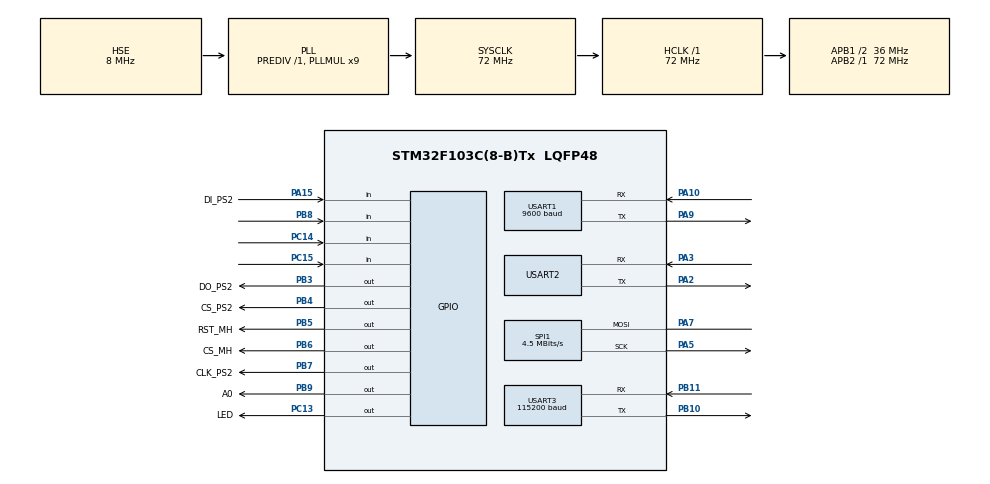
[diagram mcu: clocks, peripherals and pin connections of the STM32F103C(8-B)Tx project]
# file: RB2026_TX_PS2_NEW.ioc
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Dma.Request0=USART1_RX
Dma.Request1=USART1_TX
Dma.Request2=USART3_TX
Dma.USART1_RX.0.Direction=DMA_PERIPH_TO_MEMORY
Dma.USART1_RX.0.Instance=DMA1_Channel5
Dma.USART1_RX.0.MemDataAlignment=DMA_MDATAALIGN_BYTE
Dma.USART1_RX.0.MemInc=DMA_MINC_ENABLE
Dma.USART1_RX.0.Mode=DMA_NORMAL
Dma.USART1_RX.0.PeriphDataAlignment=DMA_PDATAALIGN_BYTE
Dma.USART1_RX.0.PeriphInc=DMA_PINC_DISABLE
Dma.USART1_RX.0.Priority=DMA_PRIORITY_LOW
Dma.USART1_TX.1.Direction=DMA_MEMORY_TO_PERIPH
Dma.USART1_TX.1.Instance=DMA1_Channel4
Dma.USART1_TX.1.MemDataAlignment=DMA_MDATAALIGN_BYTE
Dma.USART1_TX.1.MemInc=DMA_MINC_ENABLE
Dma.USART1_TX.1.Mode=DMA_NORMAL
Dma.USART1_TX.1.PeriphDataAlignment=DMA_PDATAALIGN_BYTE
Dma.USART1_TX.1.PeriphInc=DMA_PINC_DISABLE
Dma.USART1_TX.1.Priority=DMA_PRIORITY_LOW
Dma.USART3_TX.2.Direction=DMA_MEMORY_TO_PERIPH
Dma.USART3_TX.2.Instance=DMA1_Channel2
Dma.USART3_TX.2.MemDataAlignment=DMA_MDATAALIGN_BYTE
Dma.USART3_TX.2.MemInc=DMA_MINC_ENABLE
Dma.USART3_TX.2.Mode=DMA_NORMAL
Dma.USART3_TX.2.PeriphDataAlignment=DMA_PDATAALIGN_BYTE
Dma.USART3_TX.2.PeriphInc=DMA_PINC_DISABLE
Dma.USART3_TX.2.Priority=DMA_PRIORITY_LOW
Mcu.Family=STM32F1
Mcu.Name=STM32F103C(8-B)Tx
Mcu.Package=LQFP48
NVIC.DMA1_Channel2_IRQn=true\:0\:0\:false\:false\:true\:false\:true\:true
NVIC.DMA1_Channel4_IRQn=true\:0\:0\:false\:false\:true\:false\:true\:true
NVIC.DMA1_Channel5_IRQn=true\:0\:0\:false\:false\:true\:false\:true\:true
NVIC.PriorityGroup=NVIC_PRIORITYGROUP_4
NVIC.TIM2_IRQn=true\:0\:0\:false\:false\:true\:true\:true\:true
NVIC.USART1_IRQn=true\:0\:0\:false\:false\:true\:true\:true\:true
NVIC.USART2_IRQn=true\:0\:0\:false\:false\:true\:true\:true\:true
NVIC.USART3_IRQn=true\:0\:0\:false\:false\:true\:true\:true\:true
PA10.Mode=Asynchronous
PA10.Signal=USART1_RX
PA13.Mode=Serial_Wire
PA13.Signal=SYS_JTMS-SWDIO
PA14.Mode=Serial_Wire
PA14.Signal=SYS_JTCK-SWCLK
PA15.GPIO_Label=DI_PS2
PA15.GPIO_PuPd=GPIO_PULLUP
PA15.Signal=GPIO_Input
PA2.Mode=Asynchronous
PA2.Signal=USART2_TX
PA3.Mode=Asynchronous
PA3.Signal=USART2_RX
PA5.Mode=Simplex_Bidirectional_Master
PA5.Signal=SPI1_SCK
PA7.Mode=Simplex_Bidirectional_Master
PA7.Signal=SPI1_MOSI
PA9.Mode=Asynchronous
PA9.Signal=USART1_TX
PB10.Mode=Asynchronous
PB10.Signal=USART3_TX
PB11.Mode=Asynchronous
PB11.Signal=USART3_RX
PB3.GPIO_Label=DO_PS2
PB3.GPIO_Speed=GPIO_SPEED_FREQ_HIGH
PB3.PinState=GPIO_PIN_SET
PB3.Signal=GPIO_Output
PB4.GPIO_Label=CS_PS2
PB4.GPIO_Speed=GPIO_SPEED_FREQ_HIGH
PB4.PinState=GPIO_PIN_SET
PB4.Signal=GPIO_Output
PB5.GPIO_Label=RST_MH
PB5.Signal=GPIO_Output
PB6.GPIO_Label=CS_MH
PB6.Signal=GPIO_Output
PB7.GPIO_Label=CLK_PS2
PB7.GPIO_Speed=GPIO_SPEED_FREQ_HIGH
PB7.PinState=GPIO_PIN_SET
PB7.Signal=GPIO_Output
PB8.GPIO_PuPd=GPIO_NOPULL
PB8.Signal=GPIO_Input
PB9.GPIO_Label=A0
PB9.Signal=GPIO_Output
PC13-TAMPER-RTC.GPIO_Label=LED
PC13-TAMPER-RTC.Signal=GPIO_Output
PC14-OSC32_IN.GPIO_PuPd=GPIO_PULLUP
PC14-OSC32_IN.Signal=GPIO_Input
PC15-OSC32_OUT.GPIO_PuPd=GPIO_PULLUP
PC15-OSC32_OUT.Signal=GPIO_Input
PD0-OSC_IN.Mode=HSE-External-Oscillator
PD0-OSC_IN.Signal=RCC_OSC_IN
PD1-OSC_OUT.Mode=HSE-External-Oscillator
PD1-OSC_OUT.Signal=RCC_OSC_OUT
ProjectManager.HeapSize=0x200
ProjectManager.StackSize=0x400
ProjectManager.TargetToolchain=STM32CubeIDE
RCC.AHBFreq_Value=72000000
RCC.APB1CLKDivider=RCC_HCLK_DIV2
RCC.APB1Freq_Value=36000000
RCC.APB1TimFreq_Value=72000000
RCC.APB2Freq_Value=72000000
RCC.APB2TimFreq_Value=72000000
RCC.HCLKFreq_Value=72000000
RCC.PLLMUL=RCC_PLL_MUL9
RCC.PLLSourceVirtual=RCC_PLLSOURCE_HSE
RCC.SYSCLKFreq_VALUE=72000000
RCC.SYSCLKSource=RCC_SYSCLKSOURCE_PLLCLK
RCC.USBFreq_Value=72000000
SPI1.BaudRatePrescaler=SPI_BAUDRATEPRESCALER_16
SPI1.CalculateBaudRate=4.5 MBits/s
SPI1.Direction=SPI_DIRECTION_1LINE
SPI1.Mode=SPI_MODE_MASTER
SPI1.VirtualType=VM_MASTER
TIM2.Period=9999
TIM2.Prescaler=71
TIM4.Prescaler=143
USART1.BaudRate=9600
USART1.VirtualMode=VM_ASYNC
USART2.VirtualMode=VM_ASYNC
USART3.BaudRate=115200
USART3.VirtualMode=VM_ASYNC
VP_TIM2_VS_ClockSourceINT.Mode=Internal
VP_TIM4_VS_ClockSourceINT.Mode=Internal
board=custom

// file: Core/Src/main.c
/* USER CODE BEGIN Header */
/**
  ******************************************************************************
  * @file           : main.c
  * @brief          : Main program body
  ******************************************************************************
  * @attention
  *
  * Copyright (c) 2025 STMicroelectronics.
  * All rights reserved.
  *
  * This software is licensed under terms that can be found in the LICENSE file
  * in the root directory of this software component.
  * If no LICENSE file comes with this software, it is provided AS-IS.
  *
  ******************************************************************************
  */
/* USER CODE END Header */
#include "main.h"

/* USER CODE BEGIN Includes */
#include <ST7735.h>
#include <math.h>
#include <GFX_FUNCTIONS.h>
#include "string.h"
#include "stdio.h"
#include "stdint.h"
#include "PS2_F103.h"
/* USER CODE END Includes */

/* USER CODE BEGIN PD */
#define Size 6
/* USER CODE END PD */

SPI_HandleTypeDef hspi1;

TIM_HandleTypeDef htim2;
TIM_HandleTypeDef htim4;

UART_HandleTypeDef huart1;
UART_HandleTypeDef huart2;
UART_HandleTypeDef huart3;
DMA_HandleTypeDef hdma_usart1_rx;
DMA_HandleTypeDef hdma_usart1_tx;
DMA_HandleTypeDef hdma_usart3_tx;

void SystemClock_Config(void);
static void MX_GPIO_Init(void);
static void MX_DMA_Init(void);
static void MX_SPI1_Init(void);
static void MX_TIM2_Init(void);
static void MX_USART1_UART_Init(void);
static void MX_USART3_UART_Init(void);
static void MX_TIM4_Init(void);
static void MX_USART2_UART_Init(void);
/* USER CODE BEGIN PFP */
int a,b,pre_a, pre_b,ofs_a,ofs_b;
int dc775[4], dc887[4];
uint8_t fl=0,fl_pre=0,fl_but1=0;
uint8_t cnt_rot=0;
float tmp_joy[2]={0,0};
uint8_t joy_but[2]={0,0};
uint8_t fc15,f_prec15=100,fc14,fc14_pre=100;
float cnt_goc_tmp=127;
uint8_t cnt_goc=127;
uint8_t flag_first=0;
int flag_bf3=0;
//uint32_t adc;
uint8_t cnt_rot_pre=0;
uint8_t cnt_hc=0;
uint8_t b0_pre=0;
int x775,x887;
uint8_t rx_hc, buf_hc[5],index_hc=0,tx_hc[6]={255,0,0,0,0,0};
Data du;
uint8_t flag_gui=0;
uint8_t tx[Size];
uint8_t tx_dma[Size];  // Buffer riêng cho DMA, tránh ghi đè khi đang truyền
uint8_t k=0;
uint8_t Indexx=0,dataa;
uint8_t Buffer[9];
uint8_t cntttt=0;
int xungmt887,xungmt775,xung775_pre=999,xung887_pre=999;
uint8_t flag_esp32=0;
int8_t cnt_bf3=0;
char bf8[5],bf7[5];
uint8_t cnt=0;
uint8_t rx_hc_at[64];      // Buffer nhận phản hồi AT bằng DMA
volatile uint8_t at_flag = 0; // Cờ báo hiệu đã nhận được phản hồi
uint16_t at_rx_size = 0;   // Độ dài dữ liệu nhận được
volatile uint8_t flag_update_lcd = 0;  // Flag để main loop cập nhật LCD
int16_t prev_arrow_x = 64, prev_arrow_y = 51; // Compass arrow previous endpoint
/* USER CODE END PFP */

/* USER CODE BEGIN 0 */
HAL_StatusTypeDef HC12_Send_AT(char *cmd, char *expected, uint32_t timeout) {
    uint8_t rx_tmp[16];
    uint8_t byte;
    uint8_t idx = 0;
    memset(rx_tmp, 0, sizeof(rx_tmp));

    HAL_UART_Abort(&huart3);
    __HAL_UART_FLUSH_DRREGISTER(&huart3);

    HAL_UART_Transmit(&huart3, (uint8_t*)cmd, strlen(cmd), 100);
    // ✅ KHÔNG delay ở đây - bắt đầu nhận ngay lập tức

    uint32_t start = HAL_GetTick();
    while ((HAL_GetTick() - start) < timeout && idx < 15) {
        if (HAL_UART_Receive(&huart3, &byte, 1, 50) == HAL_OK) {
            rx_tmp[idx++] = byte;

            // Debug: hiện từng byte
            char dbg[32];
            sprintf(dbg, "RX[%d]:%02X '%c'   ", idx-1, byte, (byte>=32&&byte<127)?byte:'.');
            ST7735_WriteString(5, 80, dbg, Font_7x10, WHITE, BLACK);

            if (strstr((char*)rx_tmp, expected) != NULL) {
                return HAL_OK;
            }
        }
    }
    return HAL_ERROR;
}

void HC12_Setup_Routine(void) {
    uint32_t bauds[] = {9600, 115200, 19200, 38400, 4800, 2400}; // ✅ 9600 lên đầu
    uint8_t found = 0;

    ST7735_WriteString(5, 60, "HC12: Searching...", Font_7x10, YELLOW, BLACK);

    for (uint8_t i = 0; i < 6; i++) {
        huart3.Instance = USART3;
        huart3.Init.BaudRate = bauds[i];
        huart3.Init.WordLength = UART_WORDLENGTH_8B;
        huart3.Init.StopBits = UART_STOPBITS_1;
        huart3.Init.Parity = UART_PARITY_NONE;
        huart3.Init.Mode = UART_MODE_TX_RX;
        huart3.Init.HwFlowCtl = UART_HWCONTROL_NONE;
        huart3.Init.OverSampling = UART_OVERSAMPLING_16;
        HAL_UART_Init(&huart3);
        HAL_Delay(50);

        // ✅ Chỉ gửi 1 lần duy nhất qua HC12_Send_AT
        if (HC12_Send_AT("AT\r\n", "OK", 500) == HAL_OK) {
            found = 1;
            char msg[30];
            sprintf(msg, "Found @ %lu", bauds[i]);
            ST7735_WriteString(5, 60, msg, Font_7x10, GREEN, BLACK);
            break;
        }
    }

    if (found) {
        HC12_Send_AT("AT+B115200\r\n", "OK", 500);
        HAL_Delay(200); // ✅ Chờ module reboot sau khi đổi baud
        HC12_Send_AT("AT+C059\r\n", "OK", 500);

        huart3.Init.BaudRate = 11520000; // 11520000
        HAL_UART_Init(&huart3);

        ST7735_WriteString(5, 70, "HC12: CONFIG DONE", Font_7x10, GREEN, BLACK);
    } else {
        ST7735_WriteString(5, 60, "HC12: NO RESPONSE", Font_7x10, RED, BLACK);
    }
}
void HAL_TIM_PeriodElapsedCallback(TIM_HandleTypeDef *htim)
{
	if (htim->Instance == TIM2) {
	  PS2_Update();
	  if(du.button[0]==16){
		  tmp_joy[0]-=0.5;
		  if(tmp_joy[0]<=-100)tmp_joy[0]=-100;
	  }
	  else if(du.button[0]==64){
		  tmp_joy[0]+=0.5;
		  if(tmp_joy[0]>=100)tmp_joy[0]=100;
	  }
	  else if(du.button[0]==128){
		  tmp_joy[1]-=0.5;
		  if(tmp_joy[1]<=-50)tmp_joy[1]=-50;
	  }
	  else if(du.button[0]==32){
		  tmp_joy[1]+=0.5;
		  if(tmp_joy[1]>=50)tmp_joy[1]=50;
	  }
	  else{
		  tmp_joy[0]=0;
		  tmp_joy[1]=0;

	  }

	  tx[3]= (du.button[1] >= 255) ? 254 : du.button[1];
	  cnt_rot_pre=cnt_rot;

	  // === Chức năng quay motor chip ID 2 ===
	  // L1 (button[1]==4): gửi lệnh quay thuận cho chip ID 2
	  // R1 (button[1]==8): gửi lệnh quay ngược cho chip ID 2

tx[0] = du.address;  // Địa chỉ bình thường (255)

	  // Fix overflow: clamp giá trị trước khi gán vào uint8_t
	  int16_t val_x = (int16_t)du.data[0] + (int16_t)tmp_joy[0];
	  int16_t val_y = (int16_t)du.data[1] + (int16_t)tmp_joy[1];
	  if(val_x < 0) val_x = 0;
	  if(val_x > 254) val_x = 254;  // 255 = sync byte, khong duoc dung!
	  if(val_y < 0) val_y = 0;
	  if(val_y > 254) val_y = 254;  // 255 = sync byte, khong duoc dung!
	  tx[1] = (uint8_t)val_x;
	  tx[2] = (uint8_t)val_y;

	  tx[4]= (du.button[0] >= 255) ? 254 : du.button[0];
	  cnt++;
	  if(cnt>=250) cnt=0;
	  tx[5] = cnt;

	  HAL_GPIO_TogglePin(GPIOC, GPIO_PIN_13);

	  // Fix DMA BUSY: kiểm tra UART sẵn sàng + dùng buffer riêng
	  if(huart3.gState == HAL_UART_STATE_READY){
//		  memcpy(tx_dma, tx, Size);
		  HAL_UART_Transmit_DMA(&huart3, tx, Size);
	  }

	  flag_update_lcd = 1;  // Để main loop cập nhật LCD, không làm trong ISR
	}

}
/* USER CODE END 0 */

int main(void)
{

  /* MCU Configuration--------------------------------------------------------*/

  /* Reset of all peripherals, Initializes the Flash interface and the Systick. */
  HAL_Init();

  /* Configure the system clock */
  SystemClock_Config();
  HAL_Delay(1000);

  /* Initialize all configured peripherals */
  MX_GPIO_Init();
  MX_DMA_Init();
  MX_SPI1_Init();
  MX_TIM2_Init();
  MX_USART1_UART_Init();
  MX_USART3_UART_Init();
  MX_TIM4_Init();HAL_Delay(1000);
  MX_USART2_UART_Init();
  /* USER CODE BEGIN 2 */
  ST7735_Init(0);
  	fillScreen(BLACK);
  	ST7735_SetRotation(0);

  	// ── Title Bar (y=0, h=16) ──
  	ST7735_FillRectangle(0, 0, 128, 16, BLUE);
  	ST7735_WriteString(25, 3, "RBC DKH UTC", Font_7x10, WHITE, BLUE);

  	// ── Compass Section (y=17, h=68) ──
  	drawRoundRect(2, 17, 124, 68, 3, CYAN);
  	drawCircle(64, 51, 23, WHITE);
  	drawCircle(64, 51, 22, WHITE);
  	// N=Tien, S=Lui, E=Phai, W=Trai
  	ST7735_WriteString(60, 19, "N", Font_7x10, RED, BLACK);
  	ST7735_WriteString(60, 75, "S", Font_7x10, WHITE, BLACK);
  	ST7735_WriteString(90, 47, "E", Font_7x10, WHITE, BLACK);
  	ST7735_WriteString(31, 47, "W", Font_7x10, WHITE, BLACK);
  	fillCircle(64, 51, 2, YELLOW);

  	// ── X/Y Section (y=87, h=18) ──
  	drawRoundRect(2, 87, 60, 18, 3, CYAN);
  	drawRoundRect(66, 87, 60, 18, 3, CYAN);
  	ST7735_WriteString(8, 91, "X:", Font_7x10, GREEN, BLACK);
  	ST7735_WriteString(72, 91, "Y:", Font_7x10, GREEN, BLACK);

  	// ── Button Section (y=107, h=18) ──
  	drawRoundRect(2, 107, 124, 18, 3, CYAN);
  	ST7735_WriteString(6, 111, "L1", Font_7x10, 0x4208, BLACK);
  	ST7735_WriteString(24, 111, "R1", Font_7x10, 0x4208, BLACK);
  	ST7735_WriteString(42, 111, "L2", Font_7x10, 0x4208, BLACK);
  	ST7735_WriteString(60, 111, "R2", Font_7x10, 0x4208, BLACK);
  	ST7735_WriteString(82, 111, "UP", Font_7x10, 0x4208, BLACK);
  	ST7735_WriteString(100, 111, "DN", Font_7x10, 0x4208, BLACK);

  	// ── Button Section 2 (y=127, h=17) ──
  	drawRoundRect(2, 127, 124, 17, 3, CYAN);
  	ST7735_WriteString(4, 130, "Tr", Font_7x10, 0x4208, BLACK);
  	ST7735_WriteString(19, 130, "Ci", Font_7x10, 0x4208, BLACK);
  	ST7735_WriteString(34, 130, "Cr", Font_7x10, 0x4208, BLACK);
  	ST7735_WriteString(49, 130, "Sq", Font_7x10, 0x4208, BLACK);
  	ST7735_WriteString(64, 130, "LT", Font_7x10, 0x4208, BLACK);
  	ST7735_WriteString(79, 130, "RT", Font_7x10, 0x4208, BLACK);
  	ST7735_WriteString(94, 130, "ST", Font_7x10, 0x4208, BLACK);
  	ST7735_WriteString(109, 130, "SE", Font_7x10, 0x4208, BLACK);

  	// ── Mode Section (y=146, h=14) ──
  	drawRoundRect(2, 146, 124, 14, 3, CYAN);
  	ST7735_WriteString(8, 148, "MODE:", Font_7x10, YELLOW, BLACK);
//  	HAL_Delay(500);       // Đợi module HC-12 ổn định nguồn
//		HC12_Setup_Routine(); // Chạy cấu hình AT
  	PS2_Init(&htim4,&du);
  	// Khởi tạo giá trị an toàn trước khi bật ISR
  	du.address = 255;
  	du.data[0] = 100;  // Center (50+50)
  	du.data[1] = 100;
  	du.button[0] = 0;
  	du.button[1] = 0;
  	HAL_Delay(500);
  	HAL_TIM_Base_Start_IT(&htim2);
  /* USER CODE END 2 */

  /* Infinite loop */
  while (1)
  {

    /* USER CODE BEGIN 3 */
	  // Cập nhật LCD trong main loop thay vì ISR (tránh ISR quá nặng)
	  if(flag_update_lcd){
		  flag_update_lcd = 0;
		  char buff[20];

		  // ── Compass Arrow ──
		  // X giam=tien(N/up), X tang=lui(S/down)
		  // Y tang=phai(E/right), Y giam=trai(W/left)
		  drawLine(64, 51, prev_arrow_x, prev_arrow_y, BLACK); // Erase old

		  int16_t joy_x = (int16_t)tx[1] - 100; // X: neg=tien, pos=lui
		  int16_t joy_y = (int16_t)tx[2] - 100; // Y: neg=trai, pos=phai
		  if(joy_x > 100) joy_x = 100; if(joy_x < -100) joy_x = -100;
		  if(joy_y > 100) joy_y = 100; if(joy_y < -100) joy_y = -100;
		  // Map: joy_y -> screen X (phai/trai), joy_x -> screen Y (lui/tien)
		  int16_t new_ax = 64 + (joy_y * 19) / 100;
		  int16_t new_ay = 51 + (joy_x * 19) / 100;

		  if(joy_x > 5 || joy_x < -5 || joy_y > 5 || joy_y < -5) {
			  drawLine(64, 51, new_ax, new_ay, GREEN); // Draw new
		  }
		  fillCircle(64, 51, 2, YELLOW); // Redraw center dot
		  prev_arrow_x = new_ax;
		  prev_arrow_y = new_ay;

		  // ── X, Y Values ──
		  sprintf(buff, "%-3d", tx[1]);
		  ST7735_WriteString(24, 91, buff, Font_7x10, WHITE, BLACK);
		  sprintf(buff, "%-3d", tx[2]);
		  ST7735_WriteString(88, 91, buff, Font_7x10, WHITE, BLACK);

		  // ── Button Indicators ──
		  uint16_t col;
		  col = (tx[3] & 4)  ? GREEN : 0x4208;  // L1
		  ST7735_WriteString(6, 111, "L1", Font_7x10, col, BLACK);
		  col = (tx[3] & 8)  ? GREEN : 0x4208;  // R1
		  ST7735_WriteString(24, 111, "R1", Font_7x10, col, BLACK);
		  col = (tx[3] & 1)  ? GREEN : 0x4208;  // L2
		  ST7735_WriteString(42, 111, "L2", Font_7x10, col, BLACK);
		  col = (tx[3] & 2)  ? GREEN : 0x4208;  // R2
		  ST7735_WriteString(60, 111, "R2", Font_7x10, col, BLACK);
		  col = (tx[4] & 16) ? GREEN : 0x4208;  // UP
		  ST7735_WriteString(82, 111, "UP", Font_7x10, col, BLACK);
		  col = (tx[4] & 64) ? GREEN : 0x4208;  // DN
		  ST7735_WriteString(100, 111, "DN", Font_7x10, col, BLACK);

		  // ── Button Row 2: Tr Ci Cr Sq LT RT ST SE ──
		  col = (tx[3] & 16)  ? GREEN : 0x4208;  // Triangle
		  ST7735_WriteString(4, 130, "Tr", Font_7x10, col, BLACK);
		  col = (tx[3] & 32)  ? GREEN : 0x4208;  // Circle
		  ST7735_WriteString(19, 130, "Ci", Font_7x10, col, BLACK);
		  col = (tx[3] & 64)  ? GREEN : 0x4208;  // Cross
		  ST7735_WriteString(34, 130, "Cr", Font_7x10, col, BLACK);
		  col = (tx[3] & 128) ? GREEN : 0x4208;  // Square
		  ST7735_WriteString(49, 130, "Sq", Font_7x10, col, BLACK);
		  col = (tx[4] & 128) ? GREEN : 0x4208;  // Left
		  ST7735_WriteString(64, 130, "LT", Font_7x10, col, BLACK);
		  col = (tx[4] & 32)  ? GREEN : 0x4208;  // Right
		  ST7735_WriteString(79, 130, "RT", Font_7x10, col, BLACK);
		  col = (tx[4] & 8)   ? GREEN : 0x4208;  // Start
		  ST7735_WriteString(94, 130, "ST", Font_7x10, col, BLACK);
		  col = (tx[4] & 1)   ? GREEN : 0x4208;  // Select
		  ST7735_WriteString(109, 130, "SE", Font_7x10, col, BLACK);

		  // ── Mode ──
		  if(flag_esp32 == 0){
			  ST7735_WriteString(48, 148, "HC12  ", Font_7x10, GREEN, BLACK);
		  } else {
			  ST7735_WriteString(48, 148, "ESPNOW", Font_7x10, CYAN, BLACK);
		  }
	  }
  }
  /* USER CODE END 3 */
}

void SystemClock_Config(void)
{
  RCC_OscInitTypeDef RCC_OscInitStruct = {0};
  RCC_ClkInitTypeDef RCC_ClkInitStruct = {0};

  /** Initializes the RCC Oscillators according to the specified parameters
  * in the RCC_OscInitTypeDef structure.
  */
  RCC_OscInitStruct.OscillatorType = RCC_OSCILLATORTYPE_HSE;
  RCC_OscInitStruct.HSEState = RCC_HSE_ON;
  RCC_OscInitStruct.HSEPredivValue = RCC_HSE_PREDIV_DIV1;
  RCC_OscInitStruct.HSIState = RCC_HSI_ON;
  RCC_OscInitStruct.PLL.PLLState = RCC_PLL_ON;
  RCC_OscInitStruct.PLL.PLLSource = RCC_PLLSOURCE_HSE;
  RCC_OscInitStruct.PLL.PLLMUL = RCC_PLL_MUL9;
  if (HAL_RCC_OscConfig(&RCC_OscInitStruct) != HAL_OK)
  {
    Error_Handler();
  }

  /** Initializes the CPU, AHB and APB buses clocks
  */
  RCC_ClkInitStruct.ClockType = RCC_CLOCKTYPE_HCLK|RCC_CLOCKTYPE_SYSCLK
                              |RCC_CLOCKTYPE_PCLK1|RCC_CLOCKTYPE_PCLK2;
  RCC_ClkInitStruct.SYSCLKSource = RCC_SYSCLKSOURCE_PLLCLK;
  RCC_ClkInitStruct.AHBCLKDivider = RCC_SYSCLK_DIV1;
  RCC_ClkInitStruct.APB1CLKDivider = RCC_HCLK_DIV2;
  RCC_ClkInitStruct.APB2CLKDivider = RCC_HCLK_DIV1;

  if (HAL_RCC_ClockConfig(&RCC_ClkInitStruct, FLASH_LATENCY_2) != HAL_OK)
  {
    Error_Handler();
  }
}

static void MX_SPI1_Init(void)
{

  /* SPI1 parameter configuration*/
  hspi1.Instance = SPI1;
  hspi1.Init.Mode = SPI_MODE_MASTER;
  hspi1.Init.Direction = SPI_DIRECTION_1LINE;
  hspi1.Init.DataSize = SPI_DATASIZE_8BIT;
  hspi1.Init.CLKPolarity = SPI_POLARITY_LOW;
  hspi1.Init.CLKPhase = SPI_PHASE_1EDGE;
  hspi1.Init.NSS = SPI_NSS_SOFT;
  hspi1.Init.BaudRatePrescaler = SPI_BAUDRATEPRESCALER_16;
  hspi1.Init.FirstBit = SPI_FIRSTBIT_MSB;
  hspi1.Init.TIMode = SPI_TIMODE_DISABLE;
  hspi1.Init.CRCCalculation = SPI_CRCCALCULATION_DISABLE;
  hspi1.Init.CRCPolynomial = 10;
  if (HAL_SPI_Init(&hspi1) != HAL_OK)
  {
    Error_Handler();
  }

}

static void MX_TIM2_Init(void)
{

  TIM_ClockConfigTypeDef sClockSourceConfig = {0};
  TIM_MasterConfigTypeDef sMasterConfig = {0};

  htim2.Instance = TIM2;
  htim2.Init.Prescaler = 71;
  htim2.Init.CounterMode = TIM_COUNTERMODE_UP;
  htim2.Init.Period = 9999;
  htim2.Init.ClockDivision = TIM_CLOCKDIVISION_DIV1;
  htim2.Init.AutoReloadPreload = TIM_AUTORELOAD_PRELOAD_DISABLE;
  if (HAL_TIM_Base_Init(&htim2) != HAL_OK)
  {
    Error_Handler();
  }
  sClockSourceConfig.ClockSource = TIM_CLOCKSOURCE_INTERNAL;
  if (HAL_TIM_ConfigClockSource(&htim2, &sClockSourceConfig) != HAL_OK)
  {
    Error_Handler();
  }
  sMasterConfig.MasterOutputTrigger = TIM_TRGO_RESET;
  sMasterConfig.MasterSlaveMode = TIM_MASTERSLAVEMODE_DISABLE;
  if (HAL_TIMEx_MasterConfigSynchronization(&htim2, &sMasterConfig) != HAL_OK)
  {
    Error_Handler();
  }

}

static void MX_TIM4_Init(void)
{

  TIM_ClockConfigTypeDef sClockSourceConfig = {0};
  TIM_MasterConfigTypeDef sMasterConfig = {0};

  htim4.Instance = TIM4;
  htim4.Init.Prescaler = 143;
  htim4.Init.CounterMode = TIM_COUNTERMODE_UP;
  htim4.Init.Period = 65535;
  htim4.Init.ClockDivision = TIM_CLOCKDIVISION_DIV1;
  htim4.Init.AutoReloadPreload = TIM_AUTORELOAD_PRELOAD_DISABLE;
  if (HAL_TIM_Base_Init(&htim4) != HAL_OK)
  {
    Error_Handler();
  }
  sClockSourceConfig.ClockSource = TIM_CLOCKSOURCE_INTERNAL;
  if (HAL_TIM_ConfigClockSource(&htim4, &sClockSourceConfig) != HAL_OK)
  {
    Error_Handler();
  }
  sMasterConfig.MasterOutputTrigger = TIM_TRGO_RESET;
  sMasterConfig.MasterSlaveMode = TIM_MASTERSLAVEMODE_DISABLE;
  if (HAL_TIMEx_MasterConfigSynchronization(&htim4, &sMasterConfig) != HAL_OK)
  {
    Error_Handler();
  }

}

static void MX_USART1_UART_Init(void)
{

  huart1.Instance = USART1;
  huart1.Init.BaudRate = 9600;
  huart1.Init.WordLength = UART_WORDLENGTH_8B;
  huart1.Init.StopBits = UART_STOPBITS_1;
  huart1.Init.Parity = UART_PARITY_NONE;
  huart1.Init.Mode = UART_MODE_TX_RX;
  huart1.Init.HwFlowCtl = UART_HWCONTROL_NONE;
  huart1.Init.OverSampling = UART_OVERSAMPLING_16;
  if (HAL_UART_Init(&huart1) != HAL_OK)
  {
    Error_Handler();
  }

}

static void MX_USART2_UART_Init(void)
{

  huart2.Instance = USART2;
  huart2.Init.BaudRate = 115200;
  huart2.Init.WordLength = UART_WORDLENGTH_8B;
  huart2.Init.StopBits = UART_STOPBITS_1;
  huart2.Init.Parity = UART_PARITY_NONE;
  huart2.Init.Mode = UART_MODE_TX_RX;
  huart2.Init.HwFlowCtl = UART_HWCONTROL_NONE;
  huart2.Init.OverSampling = UART_OVERSAMPLING_16;
  if (HAL_UART_Init(&huart2) != HAL_OK)
  {
    Error_Handler();
  }

}

static void MX_USART3_UART_Init(void)
{

  huart3.Instance = USART3;
  huart3.Init.BaudRate = 115200;
  huart3.Init.WordLength = UART_WORDLENGTH_8B;
  huart3.Init.StopBits = UART_STOPBITS_1;
  huart3.Init.Parity = UART_PARITY_NONE;
  huart3.Init.Mode = UART_MODE_TX_RX;
  huart3.Init.HwFlowCtl = UART_HWCONTROL_NONE;
  huart3.Init.OverSampling = UART_OVERSAMPLING_16;
  if (HAL_UART_Init(&huart3) != HAL_OK)
  {
    Error_Handler();
  }

}

static void MX_DMA_Init(void)
{

  /* DMA controller clock enable */
  __HAL_RCC_DMA1_CLK_ENABLE();

  /* DMA interrupt init */
  /* DMA1_Channel2_IRQn interrupt configuration */
  HAL_NVIC_SetPriority(DMA1_Channel2_IRQn, 0, 0);
  HAL_NVIC_EnableIRQ(DMA1_Channel2_IRQn);
  /* DMA1_Channel4_IRQn interrupt configuration */
  HAL_NVIC_SetPriority(DMA1_Channel4_IRQn, 0, 0);
  HAL_NVIC_EnableIRQ(DMA1_Channel4_IRQn);
  /* DMA1_Channel5_IRQn interrupt configuration */
  HAL_NVIC_SetPriority(DMA1_Channel5_IRQn, 0, 0);
  HAL_NVIC_EnableIRQ(DMA1_Channel5_IRQn);

}

static void MX_GPIO_Init(void)
{
  GPIO_InitTypeDef GPIO_InitStruct = {0};

  /* GPIO Ports Clock Enable */
  __HAL_RCC_GPIOC_CLK_ENABLE();
  __HAL_RCC_GPIOD_CLK_ENABLE();
  __HAL_RCC_GPIOA_CLK_ENABLE();
  __HAL_RCC_GPIOB_CLK_ENABLE();

  /*Configure GPIO pin Output Level */
  HAL_GPIO_WritePin(LED_GPIO_Port, LED_Pin, GPIO_PIN_RESET);

  /*Configure GPIO pin Output Level */
  HAL_GPIO_WritePin(GPIOB, DO_PS2_Pin|CS_PS2_Pin|CLK_PS2_Pin, GPIO_PIN_SET);

  /*Configure GPIO pin Output Level */
  HAL_GPIO_WritePin(GPIOB, RST_MH_Pin|CS_MH_Pin|A0_Pin, GPIO_PIN_RESET);

  /*Configure GPIO pin : LED_Pin */
  GPIO_InitStruct.Pin = LED_Pin;
  GPIO_InitStruct.Mode = GPIO_MODE_OUTPUT_PP;
  GPIO_InitStruct.Pull = GPIO_NOPULL;
  GPIO_InitStruct.Speed = GPIO_SPEED_FREQ_LOW;
  HAL_GPIO_Init(LED_GPIO_Port, &GPIO_InitStruct);

  /*Configure GPIO pins : PC14 PC15 */
  GPIO_InitStruct.Pin = GPIO_PIN_14|GPIO_PIN_15;
  GPIO_InitStruct.Mode = GPIO_MODE_INPUT;
  GPIO_InitStruct.Pull = GPIO_PULLUP;
  HAL_GPIO_Init(GPIOC, &GPIO_InitStruct);

  /*Configure GPIO pin : DI_PS2_Pin */
  GPIO_InitStruct.Pin = DI_PS2_Pin;
  GPIO_InitStruct.Mode = GPIO_MODE_INPUT;
  GPIO_InitStruct.Pull = GPIO_PULLUP;
  HAL_GPIO_Init(DI_PS2_GPIO_Port, &GPIO_InitStruct);

  /*Configure GPIO pins : DO_PS2_Pin CS_PS2_Pin CLK_PS2_Pin */
  GPIO_InitStruct.Pin = DO_PS2_Pin|CS_PS2_Pin|CLK_PS2_Pin;
  GPIO_InitStruct.Mode = GPIO_MODE_OUTPUT_PP;
  GPIO_InitStruct.Pull = GPIO_NOPULL;
  GPIO_InitStruct.Speed = GPIO_SPEED_FREQ_HIGH;
  HAL_GPIO_Init(GPIOB, &GPIO_InitStruct);

  /*Configure GPIO pins : RST_MH_Pin CS_MH_Pin A0_Pin */
  GPIO_InitStruct.Pin = RST_MH_Pin|CS_MH_Pin|A0_Pin;
  GPIO_InitStruct.Mode = GPIO_MODE_OUTPUT_PP;
  GPIO_InitStruct.Pull = GPIO_NOPULL;
  GPIO_InitStruct.Speed = GPIO_SPEED_FREQ_LOW;
  HAL_GPIO_Init(GPIOB, &GPIO_InitStruct);

  /*Configure GPIO pin : PB8 */
  GPIO_InitStruct.Pin = GPIO_PIN_8;
  GPIO_InitStruct.Mode = GPIO_MODE_INPUT;
  GPIO_InitStruct.Pull = GPIO_NOPULL;
  HAL_GPIO_Init(GPIOB, &GPIO_InitStruct);

}

void Error_Handler(void)
{
  __disable_irq();
  while (1)
  {
  }
}
